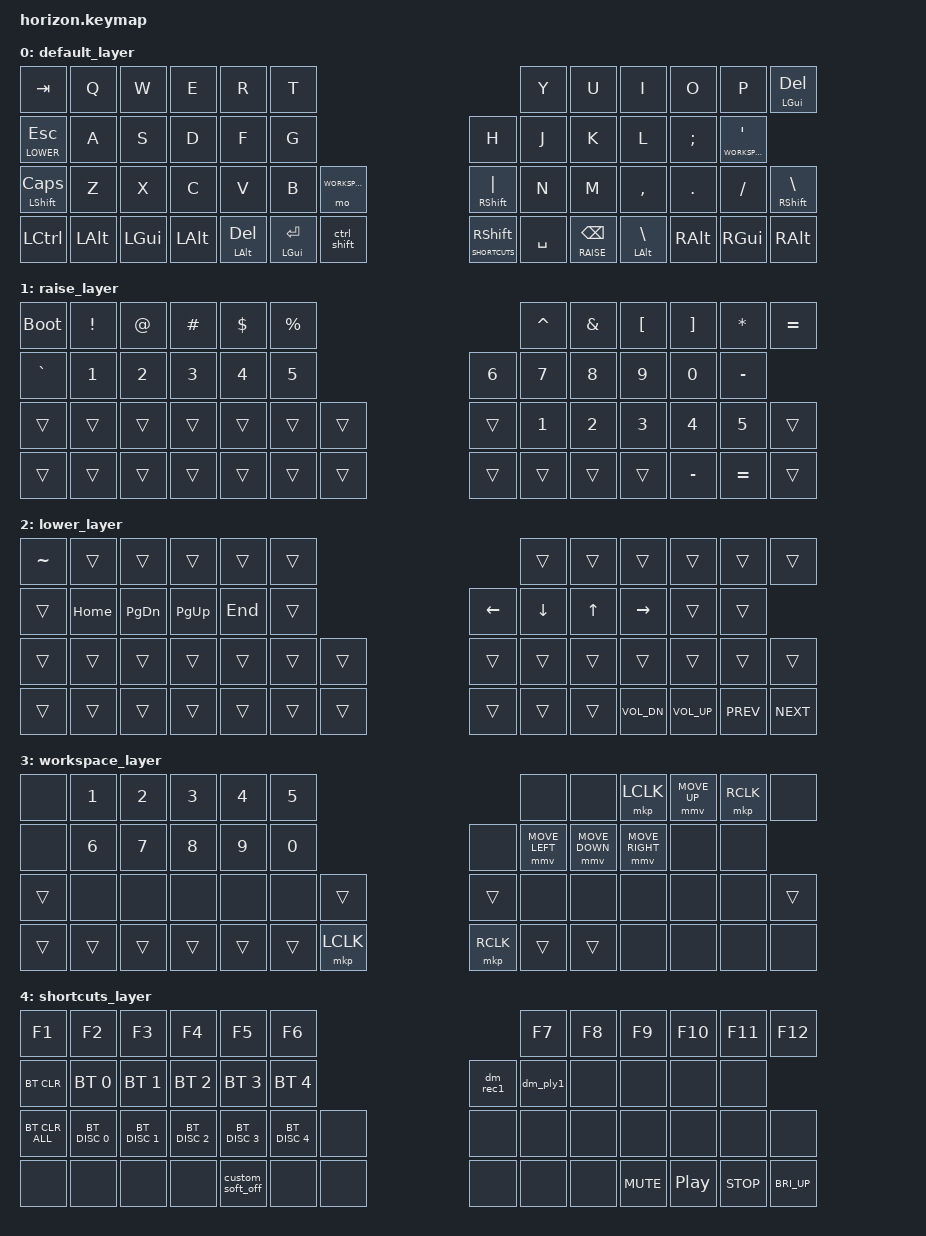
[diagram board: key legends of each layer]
#include <behaviors.dtsi>
#include <dt-bindings/zmk/keys.h>
#include <dt-bindings/zmk/bt.h>
#include <dt-bindings/zmk/mouse.h>

#define DEFAULT 0
#define RAISE   1
#define LOWER   2
#define WORKSPACE 3
#define SHORTCUTS 4

/ {
    behaviors {
        ctrl_shift: ctrl_shift {
            compatible = "zmk,behavior-mod-morph";
            label = "CTRL_SHIFT";
            #binding-cells = <0>;
            bindings = <&kp LCTRL>, <&kp LSHFT>;
            mods = <(MOD_LSFT|MOD_RSFT)>;
        };

        custom_soft_off: custom_soft_off {
            compatible = "zmk,behavior-soft-off";
            #binding-cells = <0>;
        };
    };

    macros {
        dm_rec1: dm_rec1 {
            label = "ZM_dm_rec1";
            compatible = "zmk,behavior-macro";
            #binding-cells = <0>;
            bindings = <&macro_tap &kp LC(Q)>;
        };
        dm_ply1: dm_ply1 {
            label = "ZM_dm_ply1";
            compatible = "zmk,behavior-macro";
            #binding-cells = <0>;
            bindings = <&macro_tap &kp LC(W)>;
        };
    };

    keymap {
        compatible = "zmk,keymap";

        default_layer {
            bindings = <
                &kp TAB   &kp Q &kp W &kp E &kp R &kp T                            &kp Y &kp U  &kp I     &kp O   &kp P    &mt LGUI DEL
                &lt LOWER ESC &kp A &kp S &kp D &kp F &kp G                        &kp H &kp J  &kp K     &kp L   &kp SEMI &lt WORKSPACE SQT
                &mt LSHFT CAPS &kp Z &kp X &kp C &kp V &kp B &mo WORKSPACE         &mt RSHFT PIPE &kp N &kp M  &kp COMMA &kp DOT &kp FSLH &mt RSHFT BSLH
                &kp LCTRL &kp LALT &kp LGUI &kp LALT &mt LALT DEL &mt LGUI RET &ctrl_shift &lt SHORTCUTS RSHFT &kp SPACE &lt RAISE BSPC &mt LALT BSLH &kp RALT &kp RGUI &kp RALT
            >;
        };

        raise_layer {
            bindings = <
                &bootloader &kp EXCL &kp AT &kp HASH &kp DLLR &kp PRCNT            &kp CARET &kp AMPS &kp LBKT &kp RBKT &kp STAR &kp EQUAL
                &kp GRAVE &kp N1 &kp N2 &kp N3 &kp N4 &kp N5                        &kp N6 &kp N7 &kp N8 &kp N9 &kp N0 &kp MINUS
                &trans &trans &trans &trans &trans &trans &trans                    &trans &kp N1 &kp N2 &kp N3 &kp N4 &kp N5 &trans
                &trans &trans &trans &trans &trans &trans &trans                    &trans &trans &trans &trans &kp MINUS &kp EQUAL &trans
            >;
        };

        lower_layer {
            bindings = <
                &kp TILDE &trans &trans &trans &trans &trans                        &trans &trans &trans &trans &trans &trans
                &trans &kp HOME &kp PG_DN &kp PG_UP &kp END &trans                  &kp LEFT &kp DOWN &kp UP &kp RIGHT &trans &trans
                &trans &trans &trans &trans &trans &trans &trans                    &trans &trans &trans &trans &trans &trans &trans
                &trans &trans &trans &trans &trans &trans &trans                    &trans &trans &trans &kp C_VOL_DN &kp C_VOL_UP &kp C_PREV &kp C_NEXT
            >;
        };

        workspace_layer {
            bindings = <
                &none &kp N1 &kp N2 &kp N3 &kp N4 &kp N5                            &none &none &mkp LCLK &mmv MOVE_UP &mkp RCLK &none
                &none &kp N6 &kp N7 &kp N8 &kp N9 &kp N0                            &none &mmv MOVE_LEFT &mmv MOVE_DOWN &mmv MOVE_RIGHT &none &none
                &trans &none &none &none &none &none &trans                         &trans &none &none &none &none &none &trans
                &trans &trans &trans &trans &trans &trans &mkp LCLK                    &mkp RCLK &trans &trans &none &none &none &none
            >;
        };

        shortcuts_layer {
            bindings = <
                &kp F1    &kp F2    &kp F3    &kp F4  &kp F5     &kp F6                                 &kp F7       &kp F8       &kp F9     &kp F10 &kp F11   &kp F12
                &bt BT_CLR &bt BT_SEL 0 &bt BT_SEL 1 &bt BT_SEL 2 &bt BT_SEL 3 &bt BT_SEL 4             &dm_rec1   &dm_ply1      &none     &none &none &none
                &bt BT_CLR_ALL &bt BT_DISC 0 &bt BT_DISC 1 &bt BT_DISC 2 &bt BT_DISC 3 &bt BT_DISC 4 &none       &none      &none      &none        &none        &none      &none      &none
                &none      &none      &none     &none     &custom_soft_off     &none      &none            &none      &none      &none        &kp C_MUTE   &kp C_PP   &kp C_STOP &kp C_BRI_UP
            >;
        };
    };
};
// BT 0 Iphone,BT 2 lagi di pc
